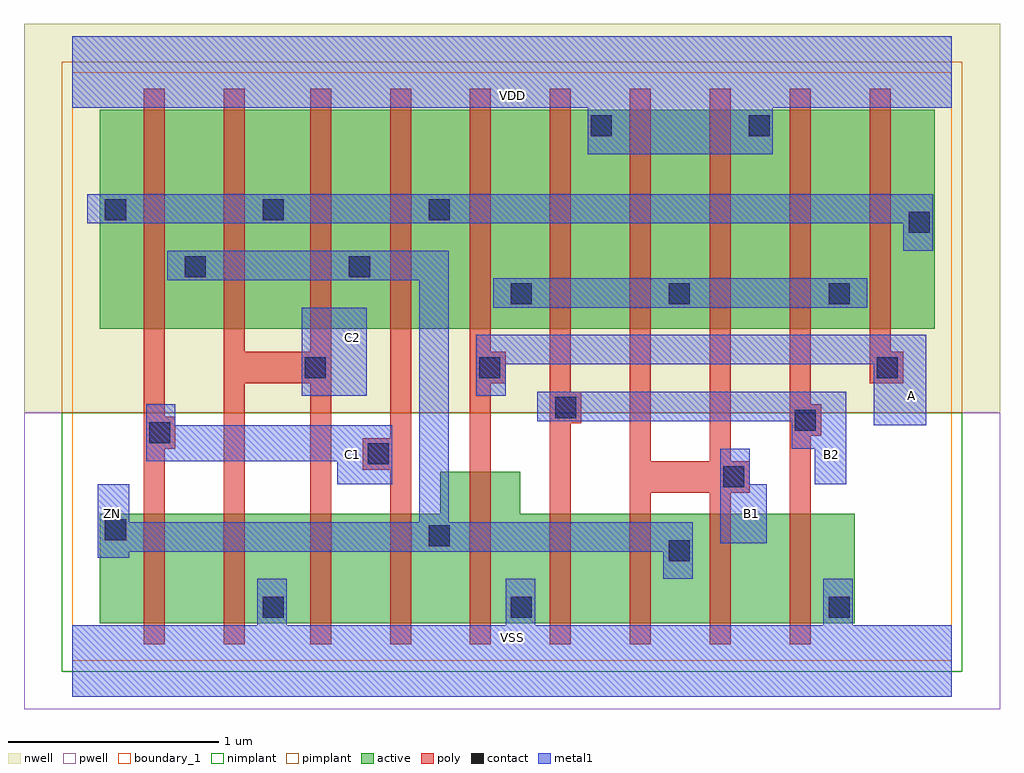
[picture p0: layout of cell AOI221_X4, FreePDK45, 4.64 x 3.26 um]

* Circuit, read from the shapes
.subckt AOI221_X4 A B1 B2 C1 C2 VDD VSS ZN
M1 n1 C1 ZN VSUBS nfet w=0.52u l=0.1u
M2 VSS C2 n1 VSUBS nfet w=0.52u l=0.1u
M3 n2 C2 VSS VSUBS nfet w=0.52u l=0.1u
M4 ZN C1 n2 VSUBS nfet w=0.52u l=0.1u
M5 VSS A ZN VSUBS nfet w=0.72u l=0.1u
M6 n3 B2 VSS VSUBS nfet w=0.52u l=0.1u
M7 ZN B1 n3 VSUBS nfet w=0.52u l=0.1u
M8 n4 B1 ZN VSUBS nfet w=0.52u l=0.1u
M9 VSS B2 n4 VSUBS nfet w=0.52u l=0.1u
M10 ZN C1 n5 n6 pfet w=1.04u l=0.1u m=2
M11 n5 C2 ZN n6 pfet w=1.04u l=0.1u m=2
M12 n7 A n5 n6 pfet w=1.04u l=0.1u m=2
M13 VDD B2 n7 n6 pfet w=1.04u l=0.1u m=2
M14 n7 B1 VDD n6 pfet w=1.04u l=0.1u m=2
.ends

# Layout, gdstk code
import gdstk
lib = gdstk.Library(unit=1e-6, precision=1e-09)
def R(c, l, rs):  # rectangles x0, y0, x1, y1
    for r in rs: c.add(gdstk.rectangle(r[:2], r[2:], *l))
def P(c, l, *ps):  # polygons
    for p in ps: c.add(gdstk.Polygon(p, *l))
active = (1, 0)
pwell = (2, 0)
nwell = (3, 0)
nimplant = (4, 0)
pimplant = (5, 0)
poly = (9, 0)
contact = (10, 0)
metal1 = (11, 0)
boundary_1 = (235, 1)

aoi221_x4 = lib.new_cell('AOI221_X4')
R(aoi221_x4, active, [(0.13,1.58,4.1,2.62)])
P(aoi221_x4, active, [(0.13,0.18),(3.72,0.18),(3.72,0.7),(2.13,0.7),(2.13,0.9),(1.75,0.9),(1.75,0.7),(0.13,0.7)])
R(aoi221_x4, pwell, [(-0.23,-0.23,4.41,1.18)])
R(aoi221_x4, nwell, [(-0.23,1.18,4.41,3.03)])
R(aoi221_x4, nimplant, [(-0.05,-0.05,4.23,1.18)])
R(aoi221_x4, pimplant, [(-0.05,1.18,4.23,2.85)])
P(aoi221_x4, poly, [(3.79,1.32),(3.95,1.32),(3.95,1.47),(3.89,1.47),(3.89,2.72),(3.79,2.72)],
  [(3.41,0.08),(3.51,0.08),(3.51,1.07),(3.56,1.07),(3.56,1.22),(3.51,1.22),(3.51,2.72),(3.41,2.72)],
  [(2.65,0.08),(2.75,0.08),(2.75,0.8),(3.03,0.8),(3.03,0.08),(3.13,0.08),(3.13,0.8),(3.22,0.8),(3.22,0.95),(3.13,0.95),(3.13,2.72),(3.03,2.72),(3.03,0.95),(2.75,0.95),(2.75,2.72),(2.65,2.72)],
  [(2.27,0.08),(2.37,0.08),(2.37,1.13),(2.42,1.13),(2.42,1.28),(2.37,1.28),(2.37,2.72),(2.27,2.72)],
  [(1.89,0.08),(1.99,0.08),(1.99,1.32),(2.06,1.32),(2.06,1.47),(1.99,1.47),(1.99,2.72),(1.89,2.72)],
  [(1.38,0.91),(1.51,0.91),(1.51,0.08),(1.61,0.08),(1.61,2.72),(1.51,2.72),(1.51,1.06),(1.38,1.06)],
  [(0.72,0.08),(0.82,0.08),(0.82,1.32),(1.13,1.32),(1.13,0.08),(1.23,0.08),(1.23,2.72),(1.13,2.72),(1.13,1.47),(0.82,1.47),(0.82,2.72),(0.72,2.72)],
  [(0.34,0.08),(0.44,0.08),(0.44,1.01),(0.49,1.01),(0.49,1.16),(0.44,1.16),(0.44,2.72),(0.34,2.72)])
R(aoi221_x4, contact, [(0.905,0.205,1.005,0.305), (2.085,0.205,2.185,0.305), (3.595,0.205,3.695,0.305), (2.835,0.475,2.935,0.575), (1.695,0.545,1.795,0.645), (0.155,0.575,0.255,0.675), (3.095,0.825,3.195,0.925), (1.405,0.935,1.505,1.035), (0.365,1.035,0.465,1.135), (3.435,1.095,3.535,1.195), (2.295,1.155,2.395,1.255), (1.105,1.345,1.205,1.445), (1.935,1.345,2.035,1.445), (3.825,1.345,3.925,1.445), (2.085,1.695,2.185,1.795), (2.835,1.695,2.935,1.795), (3.595,1.695,3.695,1.795), (0.535,1.825,0.635,1.925), (1.315,1.825,1.415,1.925), (3.975,2.035,4.075,2.135), (0.155,2.095,0.255,2.195), (0.905,2.095,1.005,2.195), (1.695,2.095,1.795,2.195), (2.465,2.495,2.565,2.595), (3.215,2.495,3.315,2.595)])
R(aoi221_x4, metal1, [(1.09,1.26,1.4,1.68), (1.09,1.26,1.4,1.68), (2,1.68,3.78,1.82)])
P(aoi221_x4, metal1, [(2.21,1.14),(3.42,1.14),(3.42,1.01),(3.53,1.01),(3.53,0.84),(3.68,0.84),(3.68,1.28),(2.21,1.28)],
  [(0,-0.17),(4.18,-0.17),(4.18,0.17),(3.71,0.17),(3.71,0.39),(3.57,0.39),(3.57,0.17),(2.2,0.17),(2.2,0.39),(2.06,0.39),(2.06,0.17),(1.02,0.17),(1.02,0.39),(0.88,0.39),(0.88,0.17),(0,0.17)],
  [(0.35,0.95),(1.26,0.95),(1.26,0.84),(1.52,0.84),(1.52,1.12),(0.49,1.12),(0.49,1.22),(0.35,1.22)],
  [(0.45,1.81),(1.65,1.81),(1.65,0.66),(0.27,0.66),(0.27,0.84),(0.12,0.84),(0.12,0.49),(0.27,0.49),(0.27,0.52),(2.81,0.52),(2.81,0.39),(2.95,0.39),(2.95,0.66),(1.79,0.66),(1.79,1.95),(0.45,1.95)],
  [(3.08,0.56),(3.3,0.56),(3.3,0.84),(3.22,0.84),(3.22,1.01),(3.08,1.01)],
  [(0,2.63),(2.45,2.63),(2.45,2.41),(3.33,2.41),(3.33,2.63),(4.18,2.63),(4.18,2.97),(0,2.97)],
  [(1.92,1.26),(2.06,1.26),(2.06,1.41),(3.81,1.41),(3.81,1.12),(4.06,1.12),(4.06,1.55),(1.92,1.55)],
  [(0,2.63),(2.45,2.63),(2.45,2.41),(3.33,2.41),(3.33,2.63),(4.18,2.63),(4.18,2.97),(0,2.97)],
  [(0,-0.17),(4.18,-0.17),(4.18,0.17),(3.71,0.17),(3.71,0.39),(3.57,0.39),(3.57,0.17),(2.2,0.17),(2.2,0.39),(2.06,0.39),(2.06,0.17),(1.02,0.17),(1.02,0.39),(0.88,0.39),(0.88,0.17),(0,0.17)],
  [(0.07,2.08),(3.95,2.08),(3.95,1.95),(4.09,1.95),(4.09,2.22),(0.07,2.22)],
  [(1.92,1.26),(2.06,1.26),(2.06,1.41),(3.81,1.41),(3.81,1.12),(4.06,1.12),(4.06,1.55),(1.92,1.55)],
  [(2.21,1.14),(3.42,1.14),(3.42,1.01),(3.53,1.01),(3.53,0.84),(3.68,0.84),(3.68,1.28),(2.21,1.28)],
  [(3.08,0.56),(3.3,0.56),(3.3,0.84),(3.22,0.84),(3.22,1.01),(3.08,1.01)],
  [(0.45,1.81),(1.65,1.81),(1.65,0.66),(0.27,0.66),(0.27,0.84),(0.12,0.84),(0.12,0.49),(0.27,0.49),(0.27,0.52),(2.81,0.52),(2.81,0.39),(2.95,0.39),(2.95,0.66),(1.79,0.66),(1.79,1.95),(0.45,1.95)],
  [(0.35,0.95),(1.26,0.95),(1.26,0.84),(1.52,0.84),(1.52,1.12),(0.49,1.12),(0.49,1.22),(0.35,1.22)])
R(aoi221_x4, boundary_1, [(0,0,4.18,2.8)])
aoi221_x4.add(gdstk.Label('ZN', (0.19,0.7), layer=11, texttype=0))
aoi221_x4.add(gdstk.Label('VSS', (2.09,0.11), layer=11, texttype=0))
aoi221_x4.add(gdstk.Label('VDD', (2.09,2.69), layer=11, texttype=0))
aoi221_x4.add(gdstk.Label('C2', (1.33,1.54), layer=11, texttype=0))
aoi221_x4.add(gdstk.Label('C1', (1.33,0.98), layer=11, texttype=0))
aoi221_x4.add(gdstk.Label('B2', (3.61,0.98), layer=11, texttype=0))
aoi221_x4.add(gdstk.Label('B1', (3.23,0.7), layer=11, texttype=0))
aoi221_x4.add(gdstk.Label('A', (3.99,1.26), layer=11, texttype=0))

lib.write_gds('AOI221_X4.gds')
